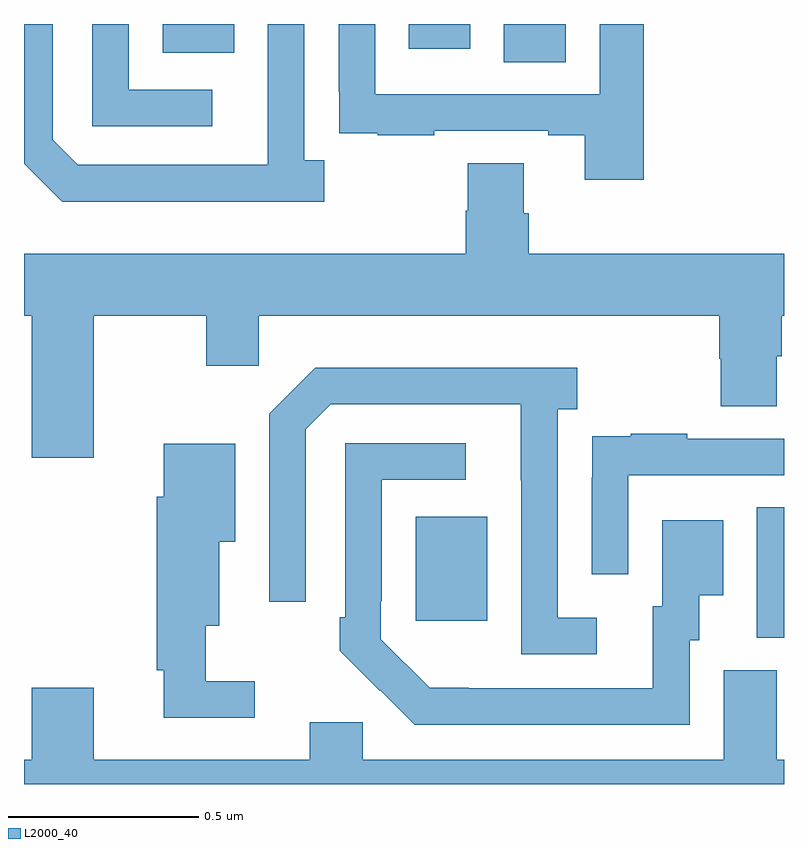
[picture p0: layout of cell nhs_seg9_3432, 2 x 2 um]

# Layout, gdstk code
import gdstk
lib = gdstk.Library(unit=1e-6, precision=1e-09)
def R(c, l, rs):  # rectangles x0, y0, x1, y1
    for r in rs: c.add(gdstk.rectangle(r[:2], r[2:], *l))
def P(c, l, *ps):  # polygons
    for p in ps: c.add(gdstk.Polygon(p, *l))
L2000_40 = (2000, 40)

nhs_seg9_3432 = lib.new_cell('nhs_seg9_3432')
R(nhs_seg9_3432, L2000_40, [(154.928,1216.885,155,1217.228), (154.031,1216.929,154.219,1217.203), (154.262,1218.4,154.426,1218.5), (153.365,1218.425,153.553,1218.5), (154.013,1218.435,154.174,1218.5)])
P(nhs_seg9_3432, L2000_40, [(153.79,1218.142),(153.738,1218.142),(153.738,1218.5),(153.642,1218.5),(153.642,1218.329),(153.641,1218.329),(153.641,1218.129),(153.141,1218.129),(153.075,1218.195),(153.075,1218.5),(153,1218.5),(153,1218.132),(153.1,1218.032),(153.79,1218.032)],
  [(154.631,1218.5),(154.515,1218.5),(154.515,1218.315),(153.924,1218.315),(153.924,1218.5),(153.828,1218.5),(153.828,1218.322),(153.829,1218.322),(153.829,1218.213),(153.931,1218.213),(153.931,1218.207),(154.079,1218.207),(154.079,1218.219),(154.379,1218.219),(154.379,1218.207),(154.475,1218.207),(154.475,1218.09),(154.631,1218.09)],
  [(153.496,1218.327),(153.276,1218.327),(153.276,1218.5),(153.18,1218.5),(153.18,1218.231),(153.496,1218.231)],
  [(154.829,1217.619),(154.834,1217.619),(154.834,1217.494),(154.981,1217.494),(154.981,1217.626),(154.994,1217.626),(154.994,1217.732),(155,1217.732),(155,1217.896),(154.328,1217.896),(154.328,1218.002),(154.315,1218.002),(154.315,1218.134),(154.168,1218.134),(154.168,1218.009),(154.163,1218.009),(154.163,1217.896),(153,1217.896),(153,1217.732),(153.02,1217.732),(153.02,1217.358),(153.184,1217.358),(153.184,1217.732),(153.479,1217.732),(153.479,1217.601),(153.618,1217.601),(153.618,1217.732),(154.829,1217.732)],
  [(154.507,1216.938),(154.404,1216.938),(154.404,1217.486),(154.456,1217.486),(154.456,1217.596),(153.766,1217.596),(153.645,1217.475),(153.645,1216.98),(153.741,1216.98),(153.741,1217.433),(153.807,1217.499),(154.307,1217.499),(154.307,1217.299),(154.308,1217.299),(154.308,1216.842),(154.507,1216.842)],
  [(154.59,1217.313),(155,1217.313),(155,1217.409),(154.745,1217.409),(154.745,1217.422),(154.597,1217.422),(154.597,1217.415),(154.495,1217.415),(154.495,1217.306),(154.494,1217.306),(154.494,1217.052),(154.59,1217.052)],
  [(154.752,1216.878),(154.777,1216.878),(154.777,1216.997),(154.84,1216.997),(154.84,1217.194),(154.679,1217.194),(154.679,1216.968),(154.655,1216.968),(154.655,1216.752),(154.171,1216.752),(154.171,1216.753),(154.068,1216.753),(153.939,1216.881),(153.939,1216.981),(153.942,1216.981),(153.942,1217.301),(154.162,1217.301),(154.162,1217.397),(153.846,1217.397),(153.846,1216.939),(153.831,1216.939),(153.831,1216.851),(153.936,1216.746),(153.937,1216.747),(154.028,1216.656),(154.752,1216.656)],
  [(153.607,1216.771),(153.478,1216.771),(153.478,1216.916),(153.514,1216.916),(153.514,1217.138),(153.556,1217.138),(153.556,1217.395),(153.368,1217.395),(153.368,1217.256),(153.349,1217.256),(153.349,1216.799),(153.368,1216.799),(153.368,1216.674),(153.607,1216.674)],
  [(155,1216.564),(154.981,1216.564),(154.981,1216.8),(154.841,1216.8),(154.841,1216.564),(153.891,1216.564),(153.891,1216.662),(153.752,1216.662),(153.752,1216.564),(153.184,1216.564),(153.184,1216.753),(153.02,1216.753),(153.02,1216.564),(153,1216.564),(153,1216.5),(155,1216.5)])

lib.write_gds('nhs_seg9_3432.gds')
